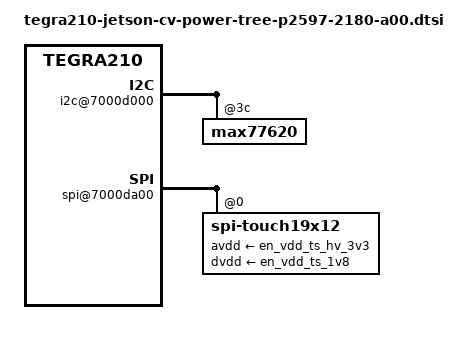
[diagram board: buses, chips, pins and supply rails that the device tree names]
/*
 * Copyright (c) 2014-2017, NVIDIA CORPORATION.  All rights reserved.
 *
 * This program is free software; you can redistribute it and/or modify
 * it under the terms of the GNU General Public License as published by
 * the Free Software Foundation; either version 2 of the License, or
 * (at your option) any later version.
 *
 * This program is distributed in the hope that it will be useful, but WITHOUT
 * ANY WARRANTY; without even the implied warranty of MERCHANTABILITY or
 * FITNESS FOR A PARTICULAR PURPOSE.  See the GNU General Public License for
 * more details.
 *
 */

#include "tegra210-jetson-cv-pmic-p2180-p2597-a00.dtsi"
#include "tegra210-jetson-cv-power-fixed-p2180-p2597-a00.dtsi"

/ {
	dvfs_rails {
		vdd-cpu-rail-max77621@2 {
			/delete-property/ vdd_cpu-supply;
		};
		vdd-gpu-rail-max77621@3 {
			/delete-property/ vdd_gpu-supply;
		};
	};

	i2c@7000d000 {
		max77620@3c {
			regulators {
				sd0 {
					regulator-enable-ramp-delay = <146>;
					regulator-disable-ramp-delay = <4080>;
					maxim,ramp-rate-setting = <27500>;
					regulator-ramp-delay = <27500>;
					maxim,active-fps-source = <MAX77620_FPS_SRC_1>;
					maxim,active-fps-power-up-slot = <1>;
					maxim,active-fps-power-down-slot = <6>;
				};

				sd1 {
					regulator-enable-ramp-delay = <130>;
					regulator-disable-ramp-delay = <145800>;
					maxim,ramp-rate-setting = <27500>;
					regulator-ramp-delay = <27500>;
					maxim,active-fps-source = <MAX77620_FPS_SRC_0>;
					maxim,active-fps-power-up-slot = <5>;
					maxim,active-fps-power-down-slot = <2>;
				};

				sd2 {
					regulator-enable-ramp-delay = <176>;
					regulator-disable-ramp-delay = <32000>;
					maxim,ramp-rate-setting = <27500>;
					regulator-ramp-delay = <27500>;
					maxim,active-fps-source = <MAX77620_FPS_SRC_1>;
					maxim,active-fps-power-up-slot = <2>;
					maxim,active-fps-power-down-slot = <5>;
				};

				sd3 {
					regulator-enable-ramp-delay = <242>;
					regulator-disable-ramp-delay = <118000>;
					maxim,ramp-rate-setting = <27500>;
					regulator-ramp-delay = <27500>;
					maxim,active-fps-source = <MAX77620_FPS_SRC_0>;
					maxim,active-fps-power-up-slot = <3>;
					maxim,active-fps-power-down-slot = <4>;
				};

				sd4 {
					maxim,active-fps-source = <MAX77620_FPS_SRC_NONE>;
					maxim,active-fps-power-up-slot = <0>;
					maxim,active-fps-power-down-slot = <7>;
					maxim,ramp-rate-setting = <27500>;
					regulator-ramp-delay = <27500>;
				};

				ldo0 {
					regulator-enable-ramp-delay = <84>;
					regulator-disable-ramp-delay = <14700>;
					maxim,ramp-rate-setting = <100000>;
					regulator-ramp-delay = <13500>;
					maxim,active-fps-source = <MAX77620_FPS_SRC_NONE>;
					maxim,active-fps-power-up-slot = <0>;
					maxim,active-fps-power-down-slot = <7>;
				};

				ldo1 {
					regulator-enable-ramp-delay = <34>;
					regulator-disable-ramp-delay = <660>;
					maxim,ramp-rate-setting = <100000>;
					regulator-ramp-delay = <28500>;
					maxim,active-fps-source = <MAX77620_FPS_SRC_0>;
					maxim,active-fps-power-up-slot = <0>;
					maxim,active-fps-power-down-slot = <3>;
				};

				ldo2 {
					regulator-enable-ramp-delay = <300>;
					regulator-disable-ramp-delay = <64000>;
					maxim,ramp-rate-setting = <100000>;
					regulator-ramp-delay = <10500>;
					maxim,active-fps-source = <MAX77620_FPS_SRC_NONE>;
					maxim,active-fps-power-up-slot = <0>;
					maxim,active-fps-power-down-slot = <7>;
				};

				ldo3 {
					regulator-enable-ramp-delay = <50>;
					regulator-disable-ramp-delay = <1110>;
					maxim,ramp-rate-setting = <100000>;
					regulator-ramp-delay = <100000>;
					maxim,active-fps-source = <MAX77620_FPS_SRC_NONE>;
					maxim,active-fps-power-up-slot = <0>;
					maxim,active-fps-power-down-slot = <7>;
				};

				ldo4 {
					regulator-enable-ramp-delay = <23>;
					regulator-disable-ramp-delay = <1100>;
					maxim,ramp-rate-setting = <100000>;
					regulator-ramp-delay = <40000>;
					maxim,active-fps-source = <MAX77620_FPS_SRC_0>;
					maxim,active-fps-power-up-slot = <1>;
					maxim,active-fps-power-down-slot = <6>;
				};

				ldo5 {
					regulator-enable-ramp-delay = <62>;
					regulator-disable-ramp-delay = <640>;
					maxim,ramp-rate-setting = <100000>;
					regulator-ramp-delay = <100000>;
					maxim,active-fps-source = <MAX77620_FPS_SRC_NONE>;
					maxim,active-fps-power-up-slot = <0>;
					maxim,active-fps-power-down-slot = <7>;
				};

				ldo6 {
					regulator-enable-ramp-delay = <36>;
					regulator-disable-ramp-delay = <674>;
					maxim,ramp-rate-setting = <100000>;
					regulator-ramp-delay = <100000>;
					maxim,active-fps-source = <MAX77620_FPS_SRC_NONE>;
					maxim,active-fps-power-up-slot = <0>;
					maxim,active-fps-power-down-slot = <7>;
				};

				ldo7 {
					regulator-enable-ramp-delay = <124>;
					regulator-disable-ramp-delay = <24000>;
					maxim,ramp-rate-setting = <100000>;
					regulator-ramp-delay = <8500>;
					maxim,active-fps-source = <MAX77620_FPS_SRC_1>;
					maxim,active-fps-power-up-slot = <3>;
					maxim,active-fps-power-down-slot = <4>;
				};

				ldo8 {
					regulator-enable-ramp-delay = <93>;
					regulator-disable-ramp-delay = <10000>;
					maxim,ramp-rate-setting = <100000>;
					regulator-ramp-delay = <50000>;
					maxim,active-fps-source = <MAX77620_FPS_SRC_1>;
					maxim,active-fps-power-up-slot = <6>;
					maxim,active-fps-power-down-slot = <1>;
					regulator-ramp-delay-scale = <11100>;
				};
			};
		};
	};

	regulators {
		regulator@1 {
			regulator-enable-ramp-delay = <160>;
			regulator-disable-ramp-delay = <10000>;
		};

		regulator@2 {
			regulator-enable-ramp-delay = <240>;
			regulator-disable-ramp-delay = <11340>;
		};

		regulator@4 {
			regulator-enable-ramp-delay = <472>;
			regulator-disable-ramp-delay = <4880>;
		};

		regulator@6 {
			regulator-enable-ramp-delay = <3090>;
		};

		regulator@7 {
			regulator-enable-ramp-delay = <468>;
			regulator-disable-ramp-delay = <13000>;
		};
	};

	efuse@7000f800 {
		vpp_fuse-supply = <&max77620_sd3>;
	};

	host1x {
		/* tegradc.0 */
		dc@54200000 {
			avdd_dsi_csi-supply = <&max77620_ldo0>;
			avdd_lcd-supply = <&en_avdd_disp_3v3>;
			dvdd_lcd-supply = <&en_dvdd_disp_1v8>;
			vdd_lcd_bl_en-supply = <&lcd_bl_en>;
			vdd_lcd_bl-supply = <&vdd_3v3>;

			/* eDP */
			vdd_ds_1v8-supply  = <&en_dvdd_disp_1v8>;
			avdd_io_edp-supply = <&max77620_gpio7>;
		};

		/* tegradc.1 */
		dc@54240000 {
			avdd_hdmi-supply = <&max77620_ldo8>;    /* 1V05 */
			avdd_hdmi_pll-supply = <&max77620_sd3>; /* 1V8 */
			vdd_hdmi_5v0-supply = <&vdd_hdmi>;	/* 5V0 GPIO_PCC7 fixed reg */
		};

		vi {
			avdd_dsi_csi-supply = <&max77620_ldo0>;
		};

		i2c@546c0000 {
			bus-pullup-supply = <&battery_reg>;
		};
	};

	tegra_sound: sound {
		ldoen-supply = <&vdd_sys_boost>;
		spkvdd-supply = <&vdd_sys_boost>;
		dbvdd-supply = <&vdd_sys_boost>;
		avdd-supply = <&vdd_sys_boost>;
		dmicvdd-supply = <&max77620_sd3>;
	};

	usb_cd@7009f000 {
	};

	xusb@70090000 {
		hvdd_usb-supply = <&vdd_3v3>;
		avdd_pll_utmip-supply = <&max77620_sd3>;
		vddio_hsic-supply = <&max77620_ldo0>;
		avddio_usb-supply = <&max77620_ldo1>;
		dvdd_sata-supply = <&max77620_ldo8>;
		avddio_pll_uerefe-supply = <&max77620_ldo7>;
	};

	xudc@700d0000 {
		hvdd_usb-supply = <&vdd_3v3>;
		avdd_pll_utmip-supply = <&max77620_sd3>;
		avddio_usb-supply = <&max77620_ldo1>;
		avddio_pll_uerefe-supply = <&max77620_ldo7>;
	};

	xotg {
		usb_vbus-supply = <&battery_reg>;
	};

#if TEGRA_XUSB_PADCONTROL_VERSION >= DT_VERSION_2
	xusb_padctl@7009f000 {
		vddio-hsic-supply = <&max77620_ldo0>;
		avdd_pll_uerefe-supply = <&max77620_ldo7>;
		hvdd_pex_pll_e-supply = <&max77620_sd3>;
		dvdd_pex_pll-supply = <&max77620_ldo1>;
		hvddio_pex-supply = <&max77620_sd3>;
		dvddio_pex-supply = <&max77620_ldo1>;
		hvdd_sata-supply = <&max77620_sd3>;
		dvdd_sata_pll-supply = <&max77620_ldo8>;
		hvddio_sata-supply = <&max77620_sd3>;
		dvddio_sata-supply = <&max77620_ldo8>;

		ports {
			usb2-0 {
				vbus-supply = <&usb_vbus1>;
			};
			usb2-1 {
				vbus-supply = <&en_vdd_eth_5v0>;
			};
			usb2-2 {
				vbus-supply = <&en_usb_vbus2>;
			};
			usb2-3 {
				vbus-supply = <&vdd_3v3>;
			};
		};
	};
#endif

	pinctrl@7009f000 {
		vbus-0-supply = <&usb_vbus1>;
		vbus-2-supply = <&en_usb_vbus2>;
		vbus-3-supply = <&vdd_3v3>;
		vddio-hsic-supply = <&max77620_ldo0>;
		avdd_pll_uerefe-supply = <&max77620_ldo7>;
		hvdd_pex_pll_e-supply = <&max77620_sd3>;
		dvdd_pex_pll-supply = <&max77620_ldo1>;
		hvddio_pex-supply = <&max77620_sd3>;
		dvddio_pex-supply = <&max77620_ldo1>;
		hvdd_sata-supply = <&max77620_sd3>;
		dvdd_sata_pll-supply = <&max77620_ldo8>;
		hvddio_sata-supply = <&max77620_sd3>;
		dvddio_sata-supply = <&max77620_ldo8>;
		vbus-1-supply = <&en_vdd_eth_5v0>;
	};

	sdhci@700b0600 {
		vqmmc-supply = <&max77620_sd3>;
		vmmc-supply = <&vdd_3v3>;
	};

	sdhci@700b0400 {
		vqmmc-supply = <&max77620_sd3>;
		vmmc-supply = <&vdd_3v3>;
	};

	sdhci@700b0200 {
		vqmmc-supply = <&max77620_sd3>;
		vmmc-supply = <&vdd_3v3>;
	};

	sdhci@700b0000 {
		vqmmc-supply = <&max77620_ldo2>;
		vmmc-supply = <&en_vdd_sd>;
	};

	bluedroid_pm {
		avdd-supply = <&battery_reg>;
		dvdd-supply = <&max77620_sd3>;
	};

	pwm-fan {
		vdd-fan-supply = <&vdd_fan>;
	};

	pmc@7000e400 {
		bootrom-commands {
			reset-commands {
				nvidia,command-retries-count = <2>;
				nvidia,delay-between-commands-us = <10>;
				nvidia,wait-start-bus-clear-us = <10>;
				#address-cells = <1>;
				#size-cells = <0>;
				commands@4-003c {
					nvidia,command-names = "pmic-rails";
					reg = <0x3c>;
					nvidia,enable-8bit-register;
					nvidia,enable-8bit-data;
					nvidia,controller-type-i2c;
					nvidia,controller-id = <4>;
					nvidia,enable-controller-reset;
					nvidia,write-commands = <0x00000016 0x00000020>;
				};
			};
			power-off-commands {
				nvidia,command-retries-count = <2>;
				nvidia,delay-between-commands-us = <10>;
				nvidia,wait-start-bus-clear-us = <10>;
				#address-cells = <1>;
				#size-cells = <0>;
				commands@4-003c {
					nvidia,command-names = "pmic-rails";
					reg = <0x3c>;
					nvidia,enable-8bit-register;
					nvidia,enable-8bit-data;
					nvidia,controller-type-i2c;
					nvidia,controller-id = <4>;
					nvidia,enable-controller-reset;
					nvidia,write-commands = <0x3B 0x01
								0x42 0x5B
								0x41 0xF8>;
				};
			};
		};
	};

	spi@7000da00 {
		spi-touch19x12@0 {
			avdd-supply = <&en_vdd_ts_hv_3v3>;
			dvdd-supply = <&en_vdd_ts_1v8>;
		};
	};

	pmc-iopower {
		vddio-sys-supply = <&max77620_sd3>;
		vddio-uart-supply = <&max77620_sd3>;
		vddio-audio-supply = <&max77620_sd3>;
		vddio-cam-supply = <&max77620_sd3>;
		vddio-pex-ctrl-supply = <&max77620_sd3>;
		vddio-sdmmc1-supply = <&max77620_ldo2>;
		vddio-sdmmc3-supply = <&max77620_sd3>;
		vddio-sdmmc4-supply = <&max77620_sd3>;
		vddio-audio-hv-supply = <&max77620_sd3>;
		vddio-debug-supply = <&max77620_sd3>;
		vddio-dbg-supply = <&max77620_sd3>;
		vddio-dmic-supply = <&max77620_sd3>;
		vddio-gpio-supply = <&max77620_sd3>;
		vddio-spi-supply = <&max77620_sd3>;
		vddio-spi-hv-supply = <&max77620_sd3>;
		vddio-sdmmc2-supply = <&max77620_sd3>;
		vddio-dp-supply = <&max77620_sd3>;
	};

	pmc@7000e400 {
		iopad-defaults {
			audio-hv-pads {
				pins = "audio-hv";
				nvidia,power-source-voltage = <TEGRA_IO_PAD_VOLTAGE_1800000UV>;
			};

			spi-hv-pads {
				pins = "spi-hv";
				nvidia,power-source-voltage = <TEGRA_IO_PAD_VOLTAGE_1800000UV>;
			};

			gpio-pads {
				pins = "gpio";
				nvidia,power-source-voltage = <TEGRA_IO_PAD_VOLTAGE_1800000UV>;
			};

			sdmmc3-pads {
				pins = "sdmmc3";
				nvidia,power-source-voltage = <TEGRA_IO_PAD_VOLTAGE_1800000UV>;
			};
		};
	};
};
